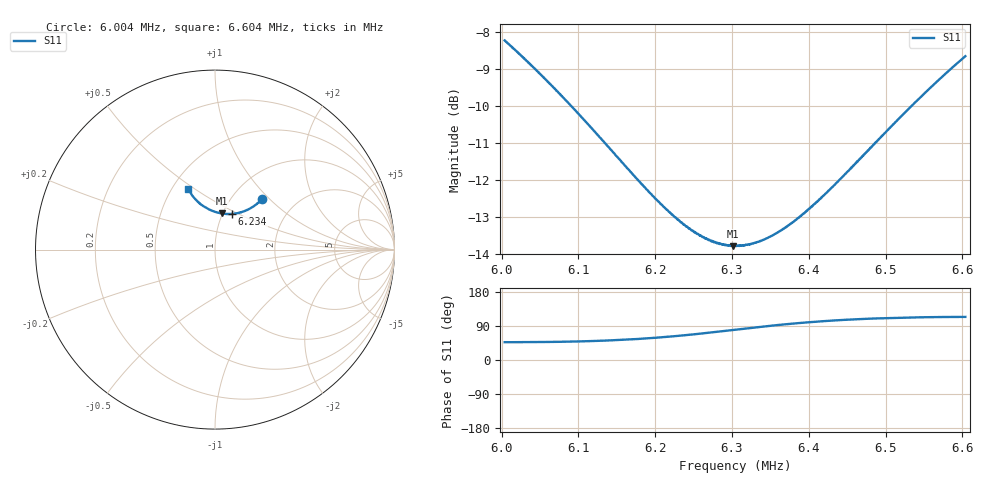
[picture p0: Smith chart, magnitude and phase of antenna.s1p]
! Calibrated high-resolution NanoVNA antenna measurement
# Hz S RI R 50
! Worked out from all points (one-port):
!   1601 points, 6.004 MHz to 6.604 MHz, reference 50 ohm
!   lowest |S11| = -13.8 dB at 6.302 MHz (marker M1), VSWR 1.51, Z = 49.6 + j20.8 ohm
!   |S11| at or under -10 dB: 6.091 MHz to 6.534 MHz (442.8 kHz wide, 7.01 % of centre)
!   S11 on the Smith chart (normalised r, x): 6.004 MHz: 1.37, +0.91; 6.234 MHz: 1.11, +0.46; 6.604 MHz: 0.60, +0.47
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6004000  0.2642 0.2839
6011500  0.26 0.2792
6040000  0.2429 0.2627
6079000  0.2175 0.2425
6117625  0.1896 0.2261
6154000  0.1614 0.2137
6194125  0.1285 0.204
6212125  0.1135 0.201
6229000  0.0992 0.1992
6233875  0.0951 0.1989
6252250  0.0795 0.1984
6270625  0.064 0.1988
6288250  0.0491 0.2
6301750  0.0376 0.2012
6304000  0.0359 0.2018
6322375  0.0211 0.2049
6340375  0.00678 0.2086
6358750  -0.00761 0.2133
6379000  -0.0229 0.2193
6393250  -0.0334 0.2241
6411250  -0.0462 0.2308
6429625  -0.0588 0.2382
6454000  -0.0748 0.2492
6494500  -0.0993 0.2698
6529000  -0.1175 0.2898
6568750  -0.1356 0.3146
6594250  -0.1454 0.3314
6604000  -0.1488 0.338
